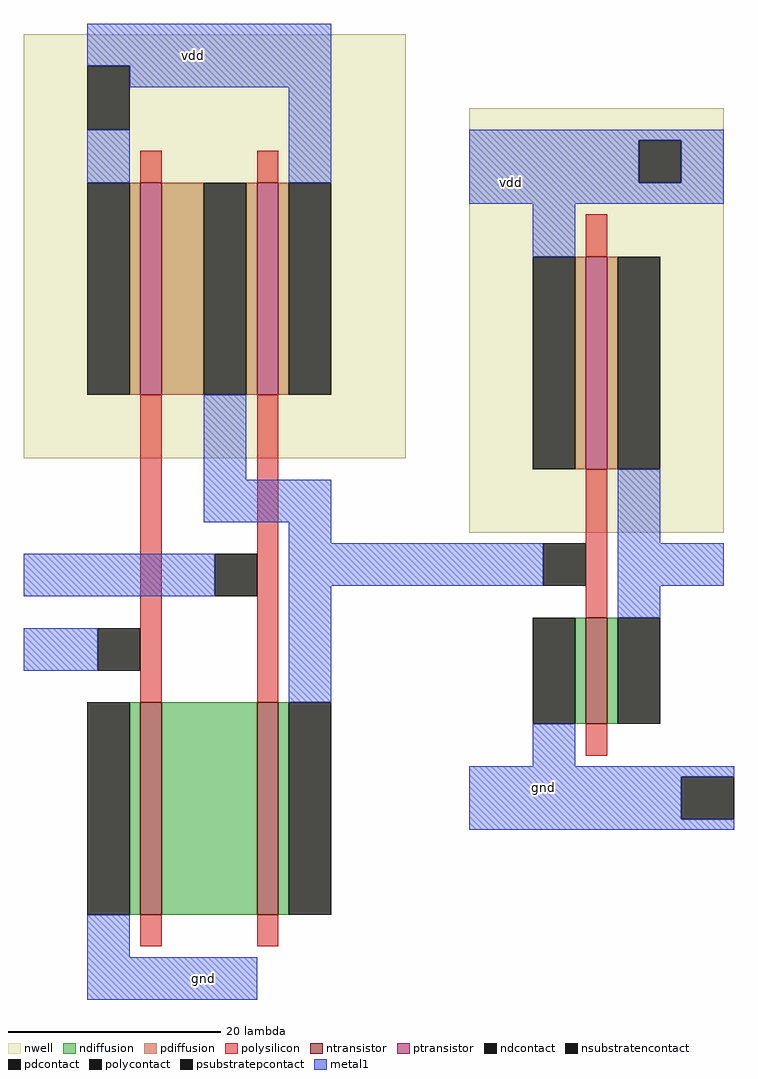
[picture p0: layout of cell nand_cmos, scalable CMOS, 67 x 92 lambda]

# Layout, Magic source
magic
tech scmos
<< nwell >>
rect -11 -14 25 26
rect 31 -21 55 19
<< ntransistor >>
rect 0 -57 2 -37
rect 11 -57 13 -37
rect 42 -39 44 -29
<< ptransistor >>
rect 0 -8 2 12
rect 11 -8 13 12
rect 42 -15 44 5
<< ndiffusion >>
rect -1 -57 0 -37
rect 2 -57 11 -37
rect 13 -57 14 -37
rect 41 -39 42 -29
rect 44 -39 45 -29
<< pdiffusion >>
rect -1 -8 0 12
rect 2 -8 6 12
rect 10 -8 11 12
rect 13 -8 14 12
rect 41 -15 42 5
rect 44 -15 45 5
<< ndcontact >>
rect -5 -57 -1 -37
rect 14 -57 18 -37
rect 37 -39 41 -29
rect 45 -39 49 -29
<< pdcontact >>
rect -5 -8 -1 12
rect 6 -8 10 12
rect 14 -8 18 12
rect 37 -15 41 5
rect 45 -15 49 5
<< psubstratepcontact >>
rect 51 -48 56 -44
<< nsubstratencontact >>
rect -5 17 -1 23
rect 47 12 51 16
<< polysilicon >>
rect 0 12 2 15
rect 11 12 13 15
rect 42 5 44 9
rect 0 -37 2 -8
rect 11 -37 13 -8
rect 42 -29 44 -15
rect 42 -42 44 -39
rect 0 -60 2 -57
rect 11 -60 13 -57
<< polycontact >>
rect -4 -34 0 -30
rect 7 -27 11 -23
rect 38 -26 42 -22
<< metal1 >>
rect -5 23 18 27
rect -1 21 18 23
rect -5 12 -1 17
rect 14 12 18 21
rect 31 16 55 17
rect 31 12 47 16
rect 51 12 55 16
rect 31 10 55 12
rect 37 5 41 10
rect 6 -16 10 -8
rect 6 -20 18 -16
rect 14 -22 18 -20
rect 45 -22 49 -15
rect -11 -27 7 -23
rect 14 -26 38 -22
rect 45 -26 55 -22
rect -11 -34 -4 -30
rect 14 -37 18 -26
rect 45 -29 49 -26
rect 37 -43 41 -39
rect 31 -44 56 -43
rect 31 -48 51 -44
rect 31 -49 56 -48
rect -5 -61 -1 -57
rect -5 -65 11 -61
<< labels >>
rlabel metal1 5 24 5 24 5 vdd
rlabel metal1 6 -63 6 -63 1 gnd
rlabel metal1 38 -45 38 -45 1 gnd
rlabel metal1 35 12 35 12 5 vdd
<< end >>
